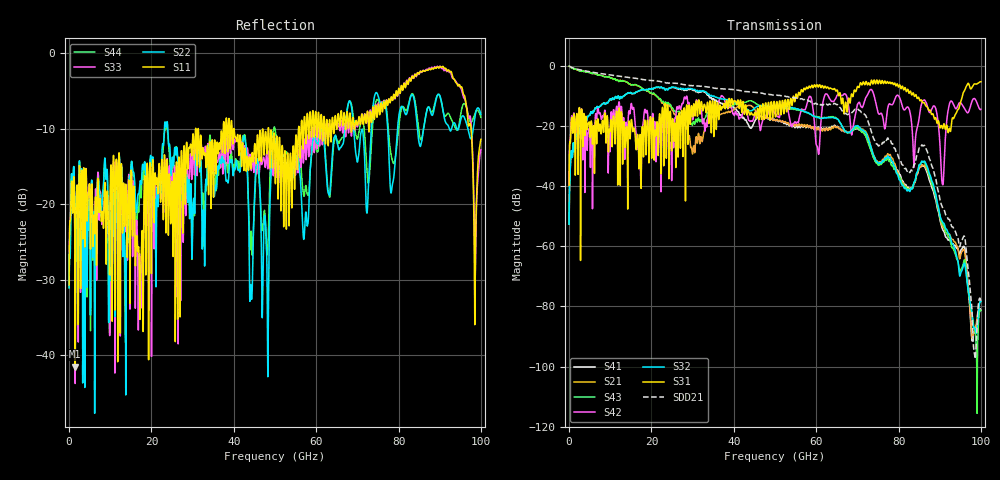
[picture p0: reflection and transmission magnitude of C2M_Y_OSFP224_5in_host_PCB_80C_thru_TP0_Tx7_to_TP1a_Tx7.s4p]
# GHz S RI R 45
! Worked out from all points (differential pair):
!   4000 points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, 25 MHz to 100 GHz, reference 45 ohm
!   strongest paths, dB at 25 MHz, 25.02 GHz, 50.02 GHz, 75.03 GHz, 100 GHz:
!     S31: -39.7, -20.6, -15.1, -6.0, -5.4
!     S32: -52.7, -7.3, -13.5, -32.4, -78.4
!     S42: -39.6, -28.1, -16.1, -15.6, -14.6
!     S43: -0.2, -14.0, -14.3, -33.0, -81.4
!     S21: -0.2, -14.8, -18.2, -32.2, -78.2
!     S41: -52.7, -7.2, -18.1, -32.8, -81.3
!   taken as a pair (ports 3,1 in; 4,2 out), SDD21 dB: -0.2, -5.9, -9.9, -26.6, -78.4
!   lowest |S11| = -41.5 dB at 1.5 GHz (marker M1), VSWR 1.02, Z = 45.8 + j0.0702 ohm
!   |S11| at or under -10 dB: start of sweep to 30.73 GHz; 40.07 GHz to 48.36 GHz (8.29 GHz wide, 18.7 % of centre); 48.47 GHz to 55.72 GHz (7.255 GHz wide, 13.9 % of centre) (the widest 3 of 28)
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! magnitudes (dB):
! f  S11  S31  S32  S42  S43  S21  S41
! 25 MHz  -30.7  -39.7  -52.7  -39.6  -0.2  -0.2  -52.7
! 1.5 GHz  -41.5  -31.0  -26.0  -26.6  -1.1  -1.1  -26.0
! 70.3 GHz  -8.7  -7.2  -20.3  -12.4  -21.0  -20.6  -21.3
! 88.7 GHz  -1.9  -17.8  -41.0  -13.5  -42.1  -42.0  -43.1
! 90.67 GHz  -1.7  -20.9  -51.9  -39.5  -52.6  -53.6  -54.3
! 92.6 GHz  -2.4  -21.9  -57.3  -12.0  -58.6  -56.7  -58.3
! 100 GHz  -11.4  -5.4  -78.4  -14.6  -81.4  -78.2  -81.3
